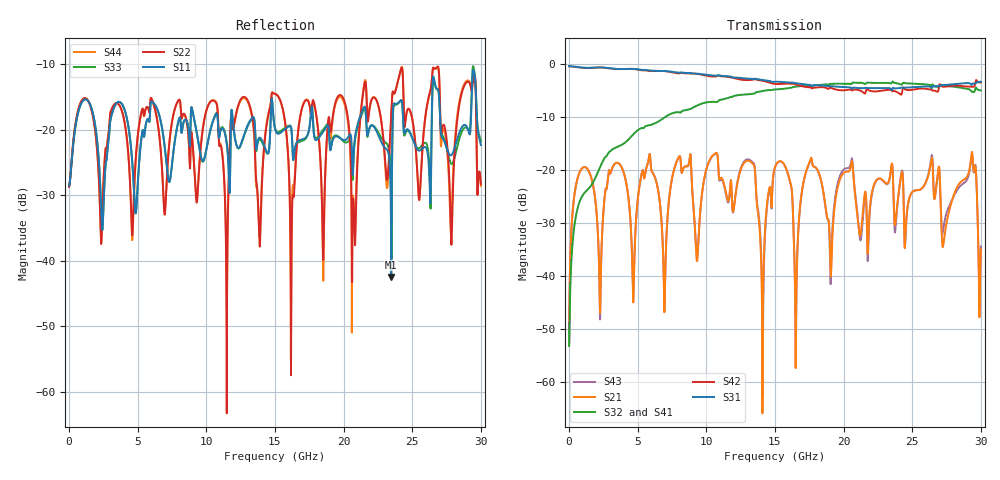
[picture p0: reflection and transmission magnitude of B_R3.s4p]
!MTL model of B_R3, calibrated on full-wave A (medium)
# Hz S RI R 50.0
!freq ReS11 ImS11 ReS12 ImS12 ReS13 ImS13
! ReS14 ImS14
! ReS21 ImS21 ReS22 ImS22 ReS23 ImS23
! ReS24 ImS24
! ReS31 ImS31 ReS32 ImS32 ReS33 ImS33
! ReS34 ImS34
! ReS41 ImS41 ReS42 ImS42 ReS43 ImS43
! ReS44 ImS44
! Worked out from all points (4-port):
!   3000 points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, 10 MHz to 30 GHz, reference 50 ohm
!   strongest paths, dB at 10 MHz, 7.51 GHz, 15.01 GHz, 22.51 GHz, 30 GHz:
!     S31: -0.5, -1.5, -3.4, -4.6, -3.4
!     S42: -0.5, -1.6, -3.8, -5.2, -3.5
!     S32: -53.2, -9.3, -4.8, -3.6, -5.0
!     S41: -53.2, -9.3, -4.8, -3.6, -5.0
!     S21: -52.6, -21.5, -19.5, -21.7, -35.0
!     S43: -52.6, -21.5, -19.5, -21.8, -34.4
!   lowest |S11| = -42.5 dB at 23.47 GHz (marker M1), VSWR 1.02, Z = 50 - j0.751 ohm
!   |S11| at or under -10 dB: start of sweep to end of sweep
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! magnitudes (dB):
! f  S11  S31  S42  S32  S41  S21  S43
! 10 MHz  -28.5  -0.5  -0.5  -53.2  -53.2  -52.6  -52.6
! 880 MHz  -16.0  -0.7  -0.7  -25.3  -25.3  -19.9  -19.9
! 5.03 GHz  -27.4  -1.0  -1.1  -12.5  -12.5  -25.2  -25.0
! 13.22 GHz  -18.5  -2.8  -3.1  -5.7  -5.7  -18.5  -18.2
! 14.09 GHz  -21.7  -3.0  -3.2  -5.1  -5.1  -65.9  -47.9
! 23.47 GHz  -42.5  -4.8  -5.0  -3.7  -3.7  -19.4  -19.5
! 30 GHz  -22.3  -3.4  -3.5  -5.0  -5.0  -35.0  -34.4
